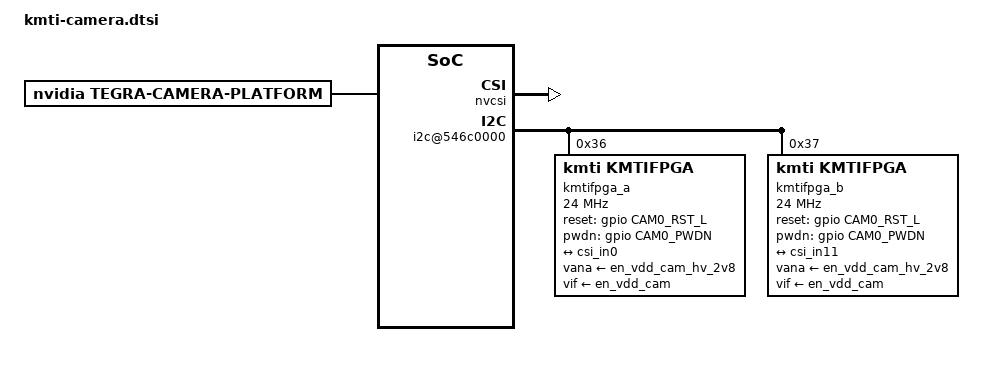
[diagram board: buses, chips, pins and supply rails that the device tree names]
#include <dt-bindings/media/camera.h>
#include <dt-bindings/platform/t210/t210.h>

#define CAM0_RST_L	TEGRA_GPIO(S, 4)
#define CAM0_PWDN		TEGRA_GPIO(S, 7)
#define CAM1_RST_L	TEGRA_GPIO(S, 5)
#define CAM1_PWDN		TEGRA_GPIO(T, 0)

/ {
	host1x {
		vi {
			status = "okay";
			num-channels = <2>;
			ports {
				#address-cells = <1>;
				#size-cells = <0>;
				status = "okay";
				port@0 {
					reg = <0>;
					status = "okay";
					vi_in0: endpoint {
						status = "okay";
						csi-port = <0>;
						bus-width = <4>;
						remote-endpoint = <&csi_out0>;
					};
				};
				port@1 {
					reg = <1>;
					status = "okay";
					vi_in11: endpoint {
						status = "okay";
						csi-port = <2>;
						bus-width = <1>;
						remote-endpoint = <&csi_out11>;
					};
				};
			};
		};
	
		nvcsi {
			status = "okay";
			num-channels = <2>;
			#address-cells = <1>;
			#size-cells = <0>;
			channel@0 {
				status = "okay";
				reg = <0>;
				ports {
					#address-cells = <1>;
					#size-cells = <0>;
					status = "okay";
					port@0 {
						reg = <0>;
						status = "okay";
						csi_in0: endpoint@0 {
							status = "okay";
							csi-port = <0>;
							bus-width = <4>;
							remote-endpoint = <&rgb_out0>;
						};
					};
					port@1 {
						reg = <1>;
						status = "okay";
						csi_out0: endpoint@1 {
							status = "okay";
							remote-endpoint = <&vi_in0>;
						};
					};
				};
			};
			channel@1 {
				status = "okay";
				reg = <1>;
				ports {
					#address-cells = <1>;
					#size-cells = <0>;
					status = "okay";
					port@0 {
						reg = <0>;
						status = "okay";
						csi_in11: endpoint@2 {
							status = "okay";
							csi-port = <2>;
							bus-width = <1>;
							remote-endpoint = <&lwir_out0>;
						};
					};
					port@1 {
						reg = <1>;
						status = "okay";
						csi_out11: endpoint@3 {
							status = "okay";
							remote-endpoint = <&vi_in11>;
						};
					};
				};
			};
		};	
		i2c@546c0000 {
			kmtifpga_a@36 {
				compatible = "kmti,kmtifpga";
				status = "okay";
		
				reg = <0x36>;
				physical_w = "7.3998";
				physical_h = "5.5998";
				devnode = "video0";
				
				clocks = <&tegra_car TEGRA210_CLK_CLK_OUT_3>;
				clock-names = "clk_out_3";
				clock-frequency = <24000000>;
				mclk = "clk_out_3";
				
				reset-gpios = <&gpio CAM0_RST_L GPIO_ACTIVE_HIGH>;   //also for VCM_2V8 en
				pwdn-gpios = <&gpio CAM0_PWDN GPIO_ACTIVE_HIGH>;
				avdd-reg = "vana";
				iovdd-reg = "vif";
				vana-supply = <&en_vdd_cam_hv_2v8>;
				vif-supply = <&en_vdd_cam>;
		
				mode0 {
					mclk_khz = "24000";
					num_lanes = "4";
					tegra_sinterface = "serial_a";
					discontinuous_clk = "yes";
					dpcm_enable = "false";
					cil_settletime = "0";
		
					active_w = "1920";
					active_h = "1080";
					pixel_t = "uyvy";
					readout_orientation = "270";
					line_length = "1920";
					inherent_gain = "1";
					mclk_multiplier = "4";
					pix_clk_hz = "75000000";
		
					min_gain_val = "1.0";
					max_gain_val = "15.5";
					min_hdr_ratio = "1";
					max_hdr_ratio = "64";
					min_framerate = "3.05185";
					max_framerate = "20";
					min_exp_time = "20";
					max_exp_time = "327350";
				};
				ports {
					#address-cells = <1>;
					#size-cells = <0>;
					status = "okay";
					port@0 {
						reg = <0>;
						status = "okay";
						rgb_out0: endpoint {
							status = "okay";
							csi-port = <0>;
							bus-width = <4>;
							remote-endpoint = <&csi_in0>;
						};
					};
				};
			};
		};
		i2c@546c0000 {
			kmtifpga_b@37 {
				compatible = "kmti,kmtifpga";
				status = "okay";
		
				reg = <0x37>;
				physical_w = "7.3998";
				physical_h = "5.5998";
				devnode = "video1";
				
				clocks = <&tegra_car TEGRA210_CLK_CLK_OUT_3>;
				clock-names = "clk_out_3";
				clock-frequency = <24000000>;
				mclk = "clk_out_3";
				
				reset-gpios = <&gpio CAM0_RST_L GPIO_ACTIVE_HIGH>;   //also for VCM_2V8 en
				pwdn-gpios = <&gpio CAM0_PWDN GPIO_ACTIVE_HIGH>;
				avdd-reg = "vana";
				iovdd-reg = "vif";
				vana-supply = <&en_vdd_cam_hv_2v8>;
				vif-supply = <&en_vdd_cam>;
		
				mode0 {
					mclk_khz = "24000";
					num_lanes = "1";
					tegra_sinterface = "serial_c";
					discontinuous_clk = "yes";
					dpcm_enable = "false";
					cil_settletime = "0";
		
					active_w = "384";
					active_h = "288";
					pixel_t = "uyvy";
					readout_orientation = "270";
					line_length = "384";
					inherent_gain = "1";
					mclk_multiplier = "2";
					pix_clk_hz = "27000000";
		
					min_gain_val = "1.0";
					max_gain_val = "15.5";
					min_hdr_ratio = "1";
					max_hdr_ratio = "64";
					min_framerate = "3.05185";
					max_framerate = "60";
					min_exp_time = "20";
					max_exp_time = "327350";
				};
				mode1 {
					mclk_khz = "24000";
					num_lanes = "1";
					tegra_sinterface = "serial_c";
					discontinuous_clk = "yes";
					dpcm_enable = "false";
					cil_settletime = "0";
		
					active_w = "640";
					active_h = "480";
					pixel_t = "uyvy";
					readout_orientation = "270";
					line_length = "480";
					inherent_gain = "1";
					mclk_multiplier = "2";
					pix_clk_hz = "27000000";
		
					min_gain_val = "1.0";
					max_gain_val = "15.5";
					min_hdr_ratio = "1";
					max_hdr_ratio = "64";
					min_framerate = "3.05185";
					max_framerate = "60";
					min_exp_time = "20";
					max_exp_time = "327350";
				};
				ports {
					#address-cells = <1>;
					#size-cells = <0>;
					status = "okay";
					port@0 {
						reg = <0>;
						status = "okay";
						lwir_out0: endpoint {
							status = "okay";
							csi-port = <2>;
							bus-width = <1>;
							remote-endpoint = <&csi_in11>;
						};
					};
				};			
			};
		};
	};
};
	
/ {	
	tegra-camera-platform {
	    compatible = "nvidia, tegra-camera-platform";
	    num_csi_lanes = <5>;
		max_lane_speed = <1500000>;
		min_bits_per_pixel = <10>;
		vi_peak_byte_per_pixel = <2>;
		vi_bw_margin_pct = <25>;
		max_pixel_rate = <7500000>;
		isp_peak_byte_per_pixel = <5>;
		isp_bw_margin_pct = <25>;
		status = "okay";
	    modules {
	        module0 {
	            badge = "kmti_sony_rgb_front";
	            position = "bottom";
	            orientation = "1";
	            status = "okay";
	            drivernode0 {
	            	status = "okay";
	                pcl_id = "v4l2_sensor";
	                devname = "kmtifpga_sony";
	                proc-device-tree = "/proc/device-tree/host1x/i2c@546c0000/kmtifpga_a@36";
	            };
	        };
	        module1 {
	            badge = "astrohn_liwr_front";
	            position = "top";
	            orientation = "1";
	            status = "okay";
	            drivernode0 {
	            	status = "okay";
	                pcl_id = "v4l2_sensor";
	                devname = "kmtifpga_lwir";
	                proc-device-tree = "/proc/device-tree/host1x/i2c@546c0000/kmtifpga_b@37";
	            };
	        };
	    };
	};
};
